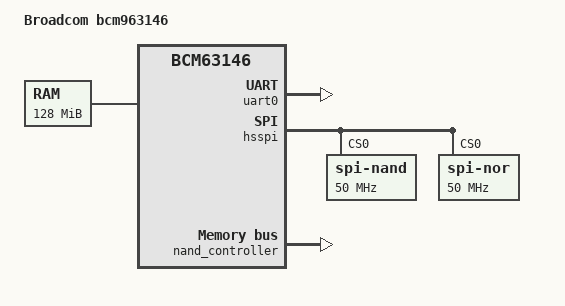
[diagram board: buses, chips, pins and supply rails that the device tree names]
// SPDX-License-Identifier: GPL-2.0+
/*
 * Copyright (C) 2019 Philippe Reynes <philippe.reynes@softathome.com>
 */

/dts-v1/;

#include "bcm63146.dtsi"

/ {
	model = "Broadcom bcm963146";
	compatible = "broadcom,bcm963146", "brcm,bcm63146";

	aliases {
		serial0 = &uart0;
		spi1 = &hsspi;
	};

	chosen {
		stdout-path = "serial0:115200n8";
	};

	memory {
		device_type = "memory";
		reg = <0x0 0x0 0x0 0x08000000>;
	};

	boot_state {
		bootph-all;
		compatible = "brcm,bcmbca-bootstate-v2";
		reg-names = "reset_reason", "reset_status";
		reg =   <0x0 0xff802628 0x0 0x04>,
			<0x0 0xff85a01c 0x0 0x04>;
	};


};

&uart0 {
	bootph-all;
	status = "okay";
};

&hsspi {
	status = "okay";
	spi-nand {
		pinctrl-0 = <&hs_spim_ss_0_b_pin_36>;
		pinctrl-names = "default";
		compatible = "spi-nand";
		reg = <0>;
		#address-cells = <1>;
		#size-cells = <0>;
		bootph-all;
		spi-max-frequency = <50000000>;
	};
	spi-nor@0 {
		pinctrl-0 = <&hs_spim_ss_0_b_pin_36>;
		pinctrl-names = "default";
		compatible = "jedec,spi-nor";
		reg = <0>;
		#address-cells = <1>;
		#size-cells = <0>;
		spi-max-frequency = <50000000>;
		bootph-all;
	};
};

&nand_controller {
	pinctrl-0 = <&data_pins &nand_ctrl_pins &nand_wpb_pin_27>;
	pinctrl-names = "default";

	brcm,wp-not-connected;
	status = "okay";
};

&nandcs {
	nand-on-flash-bbt;
	brcm,nand-ecc-use-strap;
};

&mdio {
	phy_gphy0 {
		status = "okay";
	};

	phy_gphy1 {
		status = "okay";
	};

	phy_gphy2 {
		status = "okay";
	};

	phy_gphy3 {
		status = "okay";
	};

	phy_gphy4 {
		status = "okay";
	};
};

&switch0 {
	ports {
		port_gphy0 {
			status = "okay";
		};

		port_gphy1 {
			status = "okay";
		};

		port_gphy2 {
			status = "okay";
		};

		port_gphy3 {
			status = "okay";
		};

		port_gphy4 {
			status = "okay";
		};

	};
};

